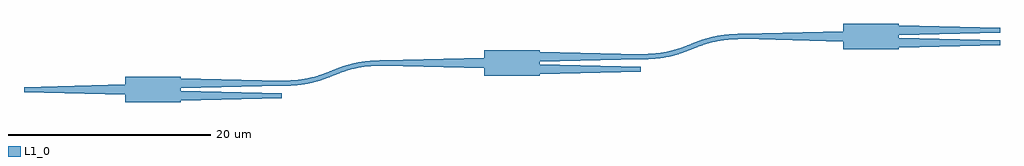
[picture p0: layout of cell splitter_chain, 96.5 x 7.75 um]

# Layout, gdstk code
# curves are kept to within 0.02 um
import gdstk
lib = gdstk.Library(unit=1e-6, precision=1e-09)
def R(c, l, rs):  # rectangles x0, y0, x1, y1
    for r in rs: c.add(gdstk.rectangle(r[:2], r[2:], *l))
def P(c, l, *ps):  # polygons
    for p in ps: c.add(gdstk.Polygon(p, *l))
L1_0 = (1, 0)

mmi1x2 = lib.new_cell('mmi1x2')
R(mmi1x2, L1_0, [(-2.75,-1.25,2.75,1.25)])
P(mmi1x2, L1_0, [(12.75,-0.875),(2.75,-1.125),(2.75,-0.125),(12.75,-0.375)],
  [(12.75,0.375),(2.75,0.125),(2.75,1.125),(12.75,0.875)],
  [(-12.75,0.25),(-2.75,0.5),(-2.75,-0.5),(-12.75,-0.25)])

bend_s = lib.new_cell('bend_s')
P(bend_s, L1_0, [(0,0.25),(0.851,0.271),(1.603,0.331),(2.864,0.544),(3.98,0.876),(6.105,1.682),(7.326,2.009),(8.593,2.191),(10,2.25),(10,1.75),(9.149,1.729),(8.397,1.669),(7.136,1.456),(6.02,1.124),(3.895,0.318),(2.674,-0.009),(1.407,-0.191),(0,-0.25)])

splitter_chain = lib.new_cell('splitter_chain')
splitter_chain.add(gdstk.Reference(mmi1x2, (0,0)))
splitter_chain.add(gdstk.Reference(bend_s, (12.75,0.625)))
splitter_chain.add(gdstk.Reference(mmi1x2, (35.5,2.625)))
splitter_chain.add(gdstk.Reference(bend_s, (48.25,3.25)))
splitter_chain.add(gdstk.Reference(mmi1x2, (71,5.25)))

lib.write_gds('splitter_chain.gds')
